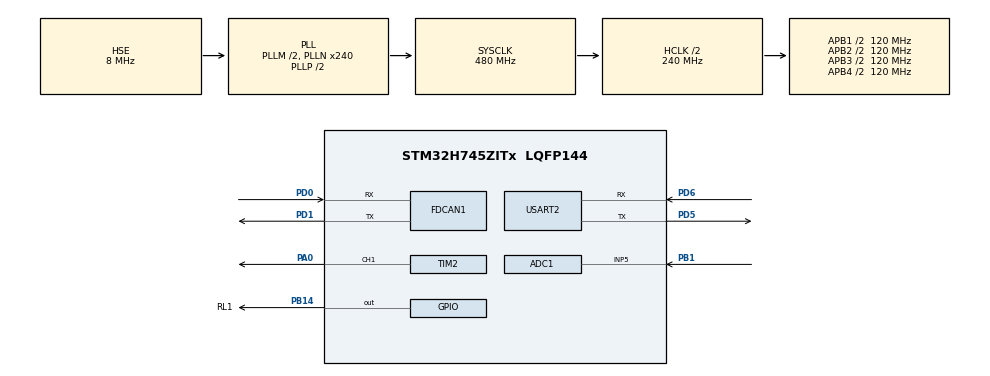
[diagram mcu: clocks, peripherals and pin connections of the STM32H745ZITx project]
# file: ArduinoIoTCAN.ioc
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ADC1.Channel-0\#ChannelRegularConversion=ADC_CHANNEL_5
ADC1.ClockPrescaler=ADC_CLOCK_SYNC_PCLK_DIV4
ADC1.NbrOfConversionFlag=1
ADC1.OffsetNumber-0\#ChannelRegularConversion=ADC_OFFSET_NONE
ADC1.OffsetSignedSaturation-0\#ChannelRegularConversion=DISABLE
ADC1.Rank-0\#ChannelRegularConversion=1
ADC1.SamplingTime-0\#ChannelRegularConversion=ADC_SAMPLETIME_1CYCLE_5
ADC1.master=1
CortexM4.IPs=BDMA,CORTEX_M4\:I,DEBUG,DMA,FATFS_M4\:I,FREERTOS_M4\:I,GPIO,IWDG2\:I,MDMA,NVIC2\:I,OPENAMP_M4\:I,PDM2PCM_M4\:I,PWR,RCC,RESMGR_UTILITY,SYS_M4\:I,USB_DEVICE_M4\:I,USB_HOST_M4\:I,VREFBUF,WWDG2\:I
CortexM7.IPs=BDMA\:I,CORTEX_M7\:I,DEBUG\:I,DMA\:I,FATFS_M7\:I,FREERTOS_M7\:I,GPIO\:I,IWDG1\:I,MDMA\:I,NVIC1\:I,OPENAMP_M7\:I,PDM2PCM_M7\:I,PWR\:I,RCC\:I,RESMGR_UTILITY\:I,SYS\:I,USB_DEVICE_M7\:I,USB_HOST_M7\:I,VREFBUF\:I,WWDG1\:I,USART2\:I,FDCAN1\:I,ADC1\:I,TIM2\:I
CortexM7.Pins=PB14
FDCAN1.CalculateBaudRateNominal=250000
FDCAN1.CalculateTimeBitNominal=4000
FDCAN1.CalculateTimeQuantumNominal=50.0
FDCAN1.NominalPrescaler=2
FDCAN1.NominalSyncJumpWidth=8
FDCAN1.NominalTimeSeg1=0x3F
FDCAN1.NominalTimeSeg2=16
FDCAN1.ProtocolException=ENABLE
FDCAN1.RxFifo0ElmtsNbr=1
FDCAN1.StdFiltersNbr=1
FDCAN1.TxFifoQueueElmtsNbr=1
Mcu.Family=STM32H7
Mcu.Name=STM32H745ZITx
Mcu.Package=LQFP144
NVIC1.PriorityGroup=NVIC_PRIORITYGROUP_4
NVIC2.PriorityGroup=NVIC_PRIORITYGROUP_4
PA0.PinAttribute=CortexM7
PA0.Signal=S_TIM2_CH1_ETR
PB1.PinAttribute=CortexM7
PB1.Signal=ADCx_INP5
PB14.GPIO_Label=RL1
PB14.PinAttribute=CortexM7
PB14.Signal=GPIO_Output
PC14-OSC32_IN\ (OSC32_IN).Mode=LSE-External-Oscillator
PC14-OSC32_IN\ (OSC32_IN).PinAttribute=CortexM7
PC14-OSC32_IN\ (OSC32_IN).Signal=RCC_OSC32_IN
PC15-OSC32_OUT\ (OSC32_OUT).Mode=LSE-External-Oscillator
PC15-OSC32_OUT\ (OSC32_OUT).PinAttribute=CortexM7
PC15-OSC32_OUT\ (OSC32_OUT).Signal=RCC_OSC32_OUT
PD0.Mode=FDCAN_Activate
PD0.PinAttribute=CortexM7
PD0.Signal=FDCAN1_RX
PD1.Mode=FDCAN_Activate
PD1.PinAttribute=CortexM7
PD1.Signal=FDCAN1_TX
PD5.Mode=Asynchronous
PD5.PinAttribute=CortexM7
PD5.Signal=USART2_TX
PD6.Mode=Asynchronous
PD6.PinAttribute=CortexM7
PD6.Signal=USART2_RX
PH0-OSC_IN\ (PH0).Mode=HSE-External-Clock-Source
PH0-OSC_IN\ (PH0).PinAttribute=CortexM7
PH0-OSC_IN\ (PH0).Signal=RCC_OSC_IN
ProjectManager.HeapSize=M4-0x200,M7-0x200
ProjectManager.StackSize=M4-0x400,M7-0x400
ProjectManager.TargetToolchain=STM32CubeIDE
RCC.ADCFreq_Value=16125000
RCC.APB1Freq_Value=120000000
RCC.APB2Freq_Value=120000000
RCC.APB3Freq_Value=120000000
RCC.APB4Freq_Value=120000000
RCC.CortexFreq_Value=480000000
RCC.D1PPRE=RCC_APB3_DIV2
RCC.D2PPRE1=RCC_APB1_DIV2
RCC.D2PPRE2=RCC_APB2_DIV2
RCC.D3PPRE=RCC_APB4_DIV2
RCC.DIVM1=2
RCC.DIVN1=240
RCC.DIVQ1=24
RCC.HCLKFreq_Value=240000000
RCC.HPRE=RCC_HCLK_DIV2
RCC.HSE_VALUE=8000000
RCC.PLLSourceVirtual=RCC_PLLSOURCE_HSE
RCC.SYSCLKFreq_VALUE=480000000
RCC.SYSCLKSource=RCC_SYSCLKSOURCE_PLLCLK
RCC.USBFreq_Value=40000000
SH.ADCx_INP5.0=ADC1_INP5,IN5-Single-Ended
SH.S_TIM2_CH1_ETR.0=TIM2_CH1,PWM Generation1 CH1
TIM2.Channel-PWM\ Generation1\ CH1=TIM_CHANNEL_1
TIM2.Period=65535
USART2.Parity=PARITY_NONE
USART2.StopBits=STOPBITS_1
USART2.VirtualMode-Asynchronous=VM_ASYNC
VP_TIM2_VS_ClockSourceINT.Mode=Internal
board=custom

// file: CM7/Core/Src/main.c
/* USER CODE BEGIN Header */
/**
  **************************
  * @file           : main.c
  * @brief          : Main program body
  **************************
  * @attention
  *
  * Copyright (c) 2022 STMicroelectronics.
  * All rights reserved.
  *
  * This software is licensed under terms that can be found in the LICENSE file
  * in the root directory of this software component.
  * If no LICENSE file comes with this software, it is provided AS-IS.
  *
  **************************
  */
/* USER CODE END Header */
#include "main.h"

/* USER CODE BEGIN Includes */
#include <stdio.h>
/* USER CODE END Includes */

/* USER CODE BEGIN PD */
#ifndef HSEM_ID_0
#define HSEM_ID_0 (0U) /* HW semaphore 0*/
#endif
/* USER CODE END PD */

ADC_HandleTypeDef hadc1;

FDCAN_HandleTypeDef hfdcan1;

TIM_HandleTypeDef htim2;

UART_HandleTypeDef huart2;

/* USER CODE BEGIN PV */
FDCAN_FilterTypeDef sFilterConfig;
FDCAN_TxHeaderTypeDef TxHeader;
FDCAN_RxHeaderTypeDef RxHeader;
uint8_t TxData[8] = {0xFF, 0xFF, 0xFF, 0xFF, 0xFF, 0xFF, 0xFF, 0xFF};
uint8_t RxData[8];
int setPoint;
double preassure;
double e=0.0,e_1=0.0,u=0.0,u_1=0.0;
double kp,ti,q0,q1;

void PID_Initialize( void ){
    double T = 0.01;//			sample rate
    //Complete here with the identified parameters of the plant
    //Calculate the coefficients for the discrete PID controller
    kp = 0.02867;
    ti = kp / 0.001529;
    q0 = kp + ((kp * T)/(2.0 * ti));
    q1 = ((kp * T)/(2.0 * ti)) - kp;
}
double PID_Discrete( double yM ){
    double R = setPoint;//			set-point

    e = R - yM;//				calculate the error
    u = u_1 + q0*e + q1*e_1;//	discrete PID controller

    //Saturate the controller with upper and lower limits
    if(u >= 1)// 			maximum pressure value
        u = 1;
    if(u <= 0)//			minimum pressure value
        u = 0;
    //Update the values for the next iteration
    e_1 = e;
    u_1 = u;

    return u;
}

/* USER CODE END PV */

void SystemClock_Config(void);
static void MX_GPIO_Init(void);
static void MX_USART2_UART_Init(void);
static void MX_FDCAN1_Init(void);
static void MX_ADC1_Init(void);
static void MX_TIM2_Init(void);
/* USER CODE BEGIN PFP */
int _write( int file, char *ptr, int len ) {
	int DataIdx;
	for (DataIdx = 0; DataIdx < len; DataIdx++) {
		HAL_UART_Transmit(&huart2, ( uint8_t *)ptr++, 1, HAL_UART_TIMEOUT_VALUE);
	}
	return len;
}
/* USER CODE END PFP */

int main(void)
{
/* USER CODE BEGIN Boot_Mode_Sequence_0 */
	int32_t timeout;
/* USER CODE END Boot_Mode_Sequence_0 */

/* USER CODE BEGIN Boot_Mode_Sequence_1 */
	/* Wait until CPU2 boots and enters in stop mode or timeout*/
	timeout = 0xFFFF;
	while((__HAL_RCC_GET_FLAG(RCC_FLAG_D2CKRDY) != RESET) && (timeout-- > 0));
	if ( timeout < 0 ) {
		Error_Handler();
	}
/* USER CODE END Boot_Mode_Sequence_1 */
  /* MCU Configuration--------------------------------------------------------*/

  /* Reset of all peripherals, Initializes the Flash interface and the Systick. */
  HAL_Init();

  /* Configure the system clock */
  SystemClock_Config();
/* USER CODE BEGIN Boot_Mode_Sequence_2 */
	/* When system initialization is finished, Cortex-M7 will release Cortex-M4 by means of
	HSEM notification */
	/*HW semaphore Clock enable*/
	__HAL_RCC_HSEM_CLK_ENABLE();
	/*Take HSEM */
	HAL_HSEM_FastTake(HSEM_ID_0);
	/*Release HSEM in order to notify the CPU2(CM4)*/
	HAL_HSEM_Release(HSEM_ID_0,0);
	/* wait until CPU2 wakes up from stop mode */
	timeout = 0xFFFF;
	while((__HAL_RCC_GET_FLAG(RCC_FLAG_D2CKRDY) == RESET) && (timeout-- > 0));
	if ( timeout < 0 ) {
	Error_Handler();
	}
/* USER CODE END Boot_Mode_Sequence_2 */

  /* Initialize all configured peripherals */
  MX_GPIO_Init();
  MX_USART2_UART_Init();
  MX_FDCAN1_Init();
  MX_ADC1_Init();
  MX_TIM2_Init();
  /* USER CODE BEGIN 2 */
	uint16_t raw;
	double voltage, input;
	int counter = 0;
	HAL_TIM_PWM_Start(&htim2, TIM_CHANNEL_1);
  /* USER CODE END 2 */

  /* Infinite loop */
  /* USER CODE BEGIN WHILE */
	setPoint = 0;
	int timestamp = 0;
	PID_Initialize();
	while(1) {
		HAL_ADC_Start(&hadc1);
		HAL_ADC_PollForConversion(&hadc1, HAL_MAX_DELAY);
		raw = HAL_ADC_GetValue(&hadc1);

		voltage = 3.3 * raw / 65535;
		preassure = (voltage - 0.527)*35;
		//Código que imprime IDs y mensajes que recibe del bus de CAN

	  	if(HAL_FDCAN_GetRxMessage(&hfdcan1, FDCAN_RX_FIFO0, &RxHeader, RxData) == HAL_OK){
	  		HAL_Delay(10);
		  	printf("\r\nCAN ID: %lX Data: ", RxHeader.Identifier);
		  	for(int i = 0; i < RxHeader.DataLength>>16; i++){
				printf("%X ", RxData[i]);
		  	}
			setPoint = RxData[0] + 1;
			counter = 0;
			printf("\r\nSetpoint: %d\r\n", setPoint);
	  	}

		if(preassure < setPoint){
			HAL_GPIO_WritePin(RL1_GPIO_Port, RL1_Pin, GPIO_PIN_SET);
			input = PID_Discrete(preassure);
			int set = (65535 * input);
			TIM2->CCR1 = set;
		}
		else if(preassure > setPoint && counter < 100){
			counter++;
		}
		if(counter == 100){
			TIM2->CCR1 = 0;
		}
		if(preassure > setPoint && counter == 100){
			HAL_GPIO_WritePin(RL1_GPIO_Port, RL1_Pin, GPIO_PIN_RESET);
		}
		else{
			HAL_GPIO_WritePin(RL1_GPIO_Port, RL1_Pin, GPIO_PIN_SET);
		}
		if(timestamp % 10 == 0){
			if(preassure < 0)
				preassure = 0;
			TxData[0] = (int) (preassure*5);
			TxData[1] = (int) (preassure*5);
			TxData[2] = (int) (preassure*5);
			TxData[3] = (int) (preassure*5);
			HAL_FDCAN_AddMessageToTxFifoQ(&hfdcan1, &TxHeader, TxData);
			printf("PWM Duty Cycle: %f - ",input);
			printf("Preassure: %.5f\r\n",preassure);
		}
		timestamp++;
		HAL_Delay(10);

    /* USER CODE END WHILE */

	}
}

void SystemClock_Config(void)
{
  RCC_OscInitTypeDef RCC_OscInitStruct = {0};
  RCC_ClkInitTypeDef RCC_ClkInitStruct = {0};

  /** Supply configuration update enable
  */
  HAL_PWREx_ConfigSupply(PWR_DIRECT_SMPS_SUPPLY);

  /** Configure the main internal regulator output voltage
  */
  __HAL_PWR_VOLTAGESCALING_CONFIG(PWR_REGULATOR_VOLTAGE_SCALE0);

  while(!__HAL_PWR_GET_FLAG(PWR_FLAG_VOSRDY)) {}

  /** Initializes the RCC Oscillators according to the specified parameters
  * in the RCC_OscInitTypeDef structure.
  */
  RCC_OscInitStruct.OscillatorType = RCC_OSCILLATORTYPE_HSE;
  RCC_OscInitStruct.HSEState = RCC_HSE_BYPASS;
  RCC_OscInitStruct.PLL.PLLState = RCC_PLL_ON;
  RCC_OscInitStruct.PLL.PLLSource = RCC_PLLSOURCE_HSE;
  RCC_OscInitStruct.PLL.PLLM = 2;
  RCC_OscInitStruct.PLL.PLLN = 240;
  RCC_OscInitStruct.PLL.PLLP = 2;
  RCC_OscInitStruct.PLL.PLLQ = 24;
  RCC_OscInitStruct.PLL.PLLR = 2;
  RCC_OscInitStruct.PLL.PLLRGE = RCC_PLL1VCIRANGE_2;
  RCC_OscInitStruct.PLL.PLLVCOSEL = RCC_PLL1VCOWIDE;
  RCC_OscInitStruct.PLL.PLLFRACN = 0;
  if (HAL_RCC_OscConfig(&RCC_OscInitStruct) != HAL_OK)
  {
    Error_Handler();
  }

  /** Initializes the CPU, AHB and APB buses clocks
  */
  RCC_ClkInitStruct.ClockType = RCC_CLOCKTYPE_HCLK|RCC_CLOCKTYPE_SYSCLK
                              |RCC_CLOCKTYPE_PCLK1|RCC_CLOCKTYPE_PCLK2
                              |RCC_CLOCKTYPE_D3PCLK1|RCC_CLOCKTYPE_D1PCLK1;
  RCC_ClkInitStruct.SYSCLKSource = RCC_SYSCLKSOURCE_PLLCLK;
  RCC_ClkInitStruct.SYSCLKDivider = RCC_SYSCLK_DIV1;
  RCC_ClkInitStruct.AHBCLKDivider = RCC_HCLK_DIV2;
  RCC_ClkInitStruct.APB3CLKDivider = RCC_APB3_DIV2;
  RCC_ClkInitStruct.APB1CLKDivider = RCC_APB1_DIV2;
  RCC_ClkInitStruct.APB2CLKDivider = RCC_APB2_DIV2;
  RCC_ClkInitStruct.APB4CLKDivider = RCC_APB4_DIV2;

  if (HAL_RCC_ClockConfig(&RCC_ClkInitStruct, FLASH_LATENCY_4) != HAL_OK)
  {
    Error_Handler();
  }
}

static void MX_ADC1_Init(void)
{

  ADC_MultiModeTypeDef multimode = {0};
  ADC_ChannelConfTypeDef sConfig = {0};

  /** Common config
  */
  hadc1.Instance = ADC1;
  hadc1.Init.ClockPrescaler = ADC_CLOCK_SYNC_PCLK_DIV4;
  hadc1.Init.Resolution = ADC_RESOLUTION_16B;
  hadc1.Init.ScanConvMode = ADC_SCAN_DISABLE;
  hadc1.Init.EOCSelection = ADC_EOC_SINGLE_CONV;
  hadc1.Init.LowPowerAutoWait = DISABLE;
  hadc1.Init.ContinuousConvMode = DISABLE;
  hadc1.Init.NbrOfConversion = 1;
  hadc1.Init.DiscontinuousConvMode = DISABLE;
  hadc1.Init.ExternalTrigConv = ADC_SOFTWARE_START;
  hadc1.Init.ExternalTrigConvEdge = ADC_EXTERNALTRIGCONVEDGE_NONE;
  hadc1.Init.ConversionDataManagement = ADC_CONVERSIONDATA_DR;
  hadc1.Init.Overrun = ADC_OVR_DATA_PRESERVED;
  hadc1.Init.LeftBitShift = ADC_LEFTBITSHIFT_NONE;
  hadc1.Init.OversamplingMode = DISABLE;
  if (HAL_ADC_Init(&hadc1) != HAL_OK)
  {
    Error_Handler();
  }

  /** Configure the ADC multi-mode
  */
  multimode.Mode = ADC_MODE_INDEPENDENT;
  if (HAL_ADCEx_MultiModeConfigChannel(&hadc1, &multimode) != HAL_OK)
  {
    Error_Handler();
  }

  /** Configure Regular Channel
  */
  sConfig.Channel = ADC_CHANNEL_5;
  sConfig.Rank = ADC_REGULAR_RANK_1;
  sConfig.SamplingTime = ADC_SAMPLETIME_1CYCLE_5;
  sConfig.SingleDiff = ADC_SINGLE_ENDED;
  sConfig.OffsetNumber = ADC_OFFSET_NONE;
  sConfig.Offset = 0;
  sConfig.OffsetSignedSaturation = DISABLE;
  if (HAL_ADC_ConfigChannel(&hadc1, &sConfig) != HAL_OK)
  {
    Error_Handler();
  }

}

static void MX_FDCAN1_Init(void)
{

  hfdcan1.Instance = FDCAN1;
  hfdcan1.Init.FrameFormat = FDCAN_FRAME_CLASSIC;
  hfdcan1.Init.Mode = FDCAN_MODE_NORMAL;
  hfdcan1.Init.AutoRetransmission = DISABLE;
  hfdcan1.Init.TransmitPause = DISABLE;
  hfdcan1.Init.ProtocolException = ENABLE;
  hfdcan1.Init.NominalPrescaler = 2;
  hfdcan1.Init.NominalSyncJumpWidth = 8;
  hfdcan1.Init.NominalTimeSeg1 = 0x3F;
  hfdcan1.Init.NominalTimeSeg2 = 16;
  hfdcan1.Init.DataPrescaler = 1;
  hfdcan1.Init.DataSyncJumpWidth = 1;
  hfdcan1.Init.DataTimeSeg1 = 1;
  hfdcan1.Init.DataTimeSeg2 = 1;
  hfdcan1.Init.MessageRAMOffset = 0;
  hfdcan1.Init.StdFiltersNbr = 1;
  hfdcan1.Init.ExtFiltersNbr = 0;
  hfdcan1.Init.RxFifo0ElmtsNbr = 1;
  hfdcan1.Init.RxFifo0ElmtSize = FDCAN_DATA_BYTES_8;
  hfdcan1.Init.RxFifo1ElmtsNbr = 0;
  hfdcan1.Init.RxFifo1ElmtSize = FDCAN_DATA_BYTES_8;
  hfdcan1.Init.RxBuffersNbr = 0;
  hfdcan1.Init.RxBufferSize = FDCAN_DATA_BYTES_8;
  hfdcan1.Init.TxEventsNbr = 0;
  hfdcan1.Init.TxBuffersNbr = 0;
  hfdcan1.Init.TxFifoQueueElmtsNbr = 1;
  hfdcan1.Init.TxFifoQueueMode = FDCAN_TX_FIFO_OPERATION;
  hfdcan1.Init.TxElmtSize = FDCAN_DATA_BYTES_8;
  if (HAL_FDCAN_Init(&hfdcan1) != HAL_OK)
  {
    Error_Handler();
  }
  /* USER CODE BEGIN FDCAN1_Init 2 */
/* Configure Rx filter */
sFilterConfig.IdType = FDCAN_EXTENDED_ID;
sFilterConfig.FilterIndex = 0;
sFilterConfig.FilterType = FDCAN_FILTER_MASK;
sFilterConfig.FilterConfig = FDCAN_FILTER_TO_RXFIFO0;
//sFilterConfig.FilterID1 = 0x300; //This is the Filter
//sFilterConfig.FilterID2 = 0x700; //This is the Mask

/* Configure global filter to reject all non-matching frames */
//HAL_FDCAN_ConfigGlobalFilter(&hfdcan1, FDCAN_REJECT, FDCAN_REJECT, FDCAN_REJECT_REMOTE, FDCAN_REJECT_REMOTE);

if (HAL_FDCAN_ConfigFilter(&hfdcan1, &sFilterConfig) != HAL_OK) {
  /* Filter configuration Error */
	Error_Handler();
}
/* Start the FDCAN module */
if (HAL_FDCAN_Start(&hfdcan1) != HAL_OK) {
  /* Start Error */
}

if (HAL_FDCAN_ActivateNotification(&hfdcan1, FDCAN_IT_RX_FIFO0_NEW_MESSAGE, 0) != HAL_OK) {
  /* Notification Error */
}

/* Configure Tx buffer message */
TxHeader.Identifier = 0x18FEEEA3;
TxHeader.IdType = FDCAN_EXTENDED_ID;
TxHeader.TxFrameType = FDCAN_DATA_FRAME;
TxHeader.DataLength = FDCAN_DLC_BYTES_8;
TxHeader.ErrorStateIndicator = FDCAN_ESI_ACTIVE;
TxHeader.BitRateSwitch = FDCAN_BRS_ON;
TxHeader.FDFormat = FDCAN_FD_CAN;
TxHeader.TxEventFifoControl = FDCAN_NO_TX_EVENTS;
TxHeader.MessageMarker = 0x00;

  /* USER CODE END FDCAN1_Init 2 */

}

static void MX_TIM2_Init(void)
{

  TIM_ClockConfigTypeDef sClockSourceConfig = {0};
  TIM_MasterConfigTypeDef sMasterConfig = {0};
  TIM_OC_InitTypeDef sConfigOC = {0};

  htim2.Instance = TIM2;
  htim2.Init.Prescaler = 0;
  htim2.Init.CounterMode = TIM_COUNTERMODE_UP;
  htim2.Init.Period = 65535;
  htim2.Init.ClockDivision = TIM_CLOCKDIVISION_DIV1;
  htim2.Init.AutoReloadPreload = TIM_AUTORELOAD_PRELOAD_DISABLE;
  if (HAL_TIM_Base_Init(&htim2) != HAL_OK)
  {
    Error_Handler();
  }
  sClockSourceConfig.ClockSource = TIM_CLOCKSOURCE_INTERNAL;
  if (HAL_TIM_ConfigClockSource(&htim2, &sClockSourceConfig) != HAL_OK)
  {
    Error_Handler();
  }
  if (HAL_TIM_PWM_Init(&htim2) != HAL_OK)
  {
    Error_Handler();
  }
  sMasterConfig.MasterOutputTrigger = TIM_TRGO_RESET;
  sMasterConfig.MasterSlaveMode = TIM_MASTERSLAVEMODE_DISABLE;
  if (HAL_TIMEx_MasterConfigSynchronization(&htim2, &sMasterConfig) != HAL_OK)
  {
    Error_Handler();
  }
  sConfigOC.OCMode = TIM_OCMODE_PWM1;
  sConfigOC.Pulse = 0;
  sConfigOC.OCPolarity = TIM_OCPOLARITY_HIGH;
  sConfigOC.OCFastMode = TIM_OCFAST_DISABLE;
  if (HAL_TIM_PWM_ConfigChannel(&htim2, &sConfigOC, TIM_CHANNEL_1) != HAL_OK)
  {
    Error_Handler();
  }
  HAL_TIM_MspPostInit(&htim2);

}

static void MX_USART2_UART_Init(void)
{

  huart2.Instance = USART2;
  huart2.Init.BaudRate = 115200;
  huart2.Init.WordLength = UART_WORDLENGTH_8B;
  huart2.Init.StopBits = UART_STOPBITS_1;
  huart2.Init.Parity = UART_PARITY_NONE;
  huart2.Init.Mode = UART_MODE_TX_RX;
  huart2.Init.HwFlowCtl = UART_HWCONTROL_NONE;
  huart2.Init.OverSampling = UART_OVERSAMPLING_16;
  huart2.Init.OneBitSampling = UART_ONE_BIT_SAMPLE_DISABLE;
  huart2.Init.ClockPrescaler = UART_PRESCALER_DIV1;
  huart2.AdvancedInit.AdvFeatureInit = UART_ADVFEATURE_NO_INIT;
  if (HAL_UART_Init(&huart2) != HAL_OK)
  {
    Error_Handler();
  }
  if (HAL_UARTEx_SetTxFifoThreshold(&huart2, UART_TXFIFO_THRESHOLD_1_8) != HAL_OK)
  {
    Error_Handler();
  }
  if (HAL_UARTEx_SetRxFifoThreshold(&huart2, UART_RXFIFO_THRESHOLD_1_8) != HAL_OK)
  {
    Error_Handler();
  }
  if (HAL_UARTEx_DisableFifoMode(&huart2) != HAL_OK)
  {
    Error_Handler();
  }

}

static void MX_GPIO_Init(void)
{
  GPIO_InitTypeDef GPIO_InitStruct = {0};

  /* GPIO Ports Clock Enable */
  __HAL_RCC_GPIOC_CLK_ENABLE();
  __HAL_RCC_GPIOH_CLK_ENABLE();
  __HAL_RCC_GPIOA_CLK_ENABLE();
  __HAL_RCC_GPIOB_CLK_ENABLE();
  __HAL_RCC_GPIOD_CLK_ENABLE();

  /*Configure GPIO pin Output Level */
  HAL_GPIO_WritePin(RL1_GPIO_Port, RL1_Pin, GPIO_PIN_SET);

  /*Configure GPIO pin : RL1_Pin */
  GPIO_InitStruct.Pin = RL1_Pin;
  GPIO_InitStruct.Mode = GPIO_MODE_OUTPUT_PP;
  GPIO_InitStruct.Pull = GPIO_NOPULL;
  GPIO_InitStruct.Speed = GPIO_SPEED_FREQ_LOW;
  HAL_GPIO_Init(RL1_GPIO_Port, &GPIO_InitStruct);

}

void Error_Handler(void)
{
  __disable_irq();
  while (1)
  {
  }
}
